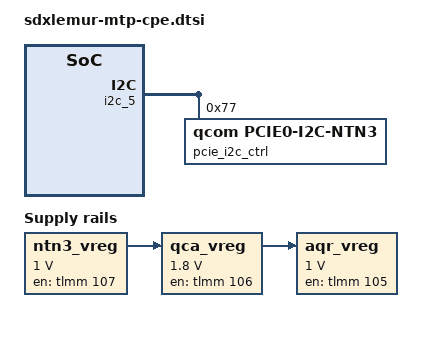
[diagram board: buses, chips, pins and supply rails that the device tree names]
#include "sdxlemur-mtp.dtsi"
#include "sdxlemur-mtp-audio-overlay.dtsi"

&soc {
	ntn3_vreg: ntn3_vreg {
		compatible = "regulator-fixed";
		regulator-name = "ntn3_vreg";
		gpio = <&tlmm 107 GPIO_ACTIVE_HIGH>;
		regulator-min-microvolt = <1000000>;
		regulator-max-microvolt = <1000000>;
		enable-active-high;
		regulator-enable-ramp-delay = <4300>;
	};

	qca_vreg: qca_vreg {
		compatible = "regulator-fixed";
		regulator-name = "qca_vreg";
		gpio = <&tlmm 106 GPIO_ACTIVE_HIGH>;
		vin-supply = <&ntn3_vreg>;
		regulator-min-microvolt = <1800000>;
		regulator-max-microvolt = <1800000>;
		enable-active-high;
		regulator-enable-ramp-delay = <200000>;
	};

	aqr_vreg: aqr_vreg {
		compatible = "regulator-fixed";
		regulator-name = "aqr_vreg";
		gpio = <&tlmm 105 GPIO_ACTIVE_HIGH>;
		vin-supply = <&qca_vreg>;
		regulator-min-microvolt = <1000000>;
		regulator-max-microvolt = <1000000>;
		enable-active-high;
		regulator-enable-ramp-delay = <2400>;
	};
};

&i2c_5 {
	status = "ok";

	pcie_i2c_ctrl: pcie_i2c_ctrl {
		compatible = "qcom,pcie0-i2c-ntn3";
		reg = <0x77>;
		gpio-config-reg = <0x801208>;
		ep-reset-reg = <0x801210>;
		ep-reset-gpio-mask = <0xf>;
		dump-regs = <0x801330 0x801350 0x801370>;
	};
};

&pcie0 {
	pcie-i2c-phandle = <&i2c_5>;

	vreg-3p3-supply = <&aqr_vreg>;

	iommu-map = <0x0 &apps_smmu 0x0200 0x1>,
		<0x100 &apps_smmu 0x0201 0x1>,
		<0x208 &apps_smmu 0x0202 0x1>,
		<0x210 &apps_smmu 0x0203 0x1>,
		<0x218 &apps_smmu 0x0204 0x1>,
		<0x300 &apps_smmu 0x0207 0x1>,
		<0x400 &apps_smmu 0x0208 0x1>,
		<0x500 &apps_smmu 0x020c 0x1>,
		<0x501 &apps_smmu 0x020e 0x1>;
};

&pcie0_rp {
	#address-cells = <5>;
	#size-cells = <0>;

	/* BDF 1.0.0 */
	pcie0_bus1_dev0_fn0: pcie0_bus1_dev0_fn0 {
		reg = <0 0 0 0 0>;

		/* BDF 2.1.0 */
		pcie0_bus2_dev1_fn0: pcie0_bus2_dev1_fn0 {
			reg = <0x800 0x0 0x0 0x0 0x0>;
		};

		/* BDF 2.2.0 */
		pcie0_bus2_dev2_fn0: pcie0_bus2_dev2_fn0 {
			reg = <0x1000 0x0 0x0 0x0 0x0>;
		};

		/* BDF 2.3.0 */
		pcie0_bus2_dev3_fn0: pcie0_bus2_dev3_fn0 {
			reg = <0x1800 0x0 0x0 0x0 0x0>;
		};
	};
};
